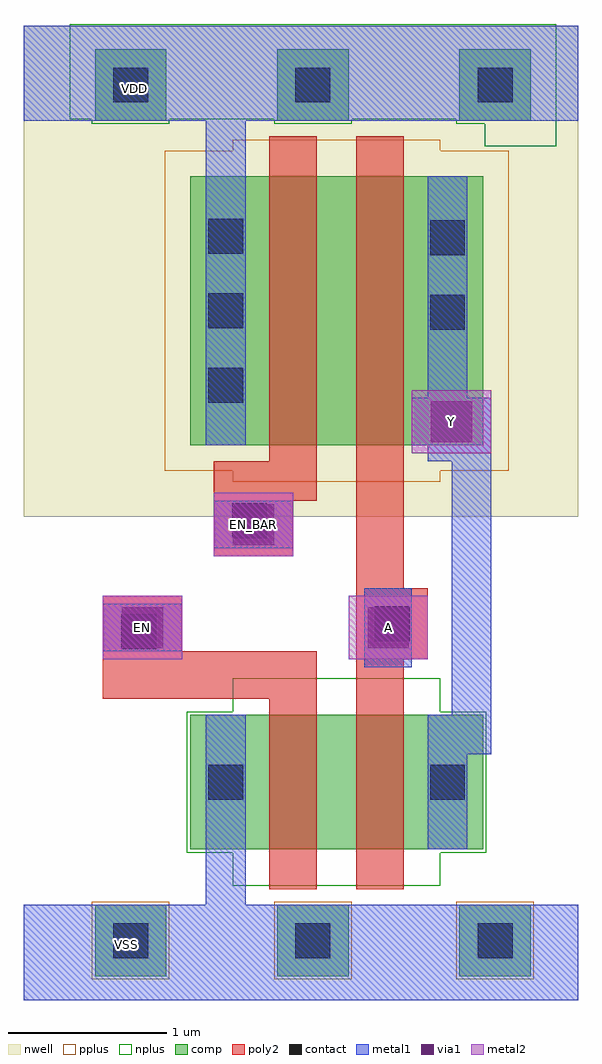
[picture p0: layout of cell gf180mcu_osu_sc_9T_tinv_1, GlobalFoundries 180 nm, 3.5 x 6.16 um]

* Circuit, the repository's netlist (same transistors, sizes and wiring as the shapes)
* Copyright 2022 Google LLC
*
* Licensed under the Apache License, Version 2.0 (the "License");
* you may not use this file except in compliance with the License.
* You may obtain a copy of the License at
*
*      http://www.apache.org/licenses/LICENSE-2.0
*
* Unless required by applicable law or agreed to in writing, software
* distributed under the License is distributed on an "AS IS" BASIS,
* WITHOUT WARRANTIES OR CONDITIONS OF ANY KIND, either express or implied.
* See the License for the specific language governing permissions and
* limitations under the License.

.option scale=0.05u

.subckt gf180mcu_osu_sc_9T_tinv_1 A Y EN EN_BAR
X0 a_37_19 EN VSS VSS nmos_3p3 w=17 l=6
X1 a_37_70 EN_BAR VDD VDD pmos_3p3 w=34 l=6
X2 Y A a_37_19 VSS nmos_3p3 w=17 l=6
X3 Y A a_37_70 VDD pmos_3p3 w=34 l=6
.ends

** hspice subcircuit dictionary

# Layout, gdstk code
import gdstk
lib = gdstk.Library(unit=1e-6, precision=1e-09)
def R(c, l, rs):  # rectangles x0, y0, x1, y1
    for r in rs: c.add(gdstk.rectangle(r[:2], r[2:], *l))
def A(c, l, x, y, w, h, nx, ny, dx, dy):  # array of equal rectangles
    R(c, l, [(x+i*dx, y+j*dy, x+i*dx+w, y+j*dy+h) for i in range(nx) for j in range(ny)])
nwell = (21, 0)
comp = (22, 0)
poly2 = (30, 0)
pplus = (31, 0)
nplus = (32, 0)
contact = (33, 0)
metal1 = (34, 0)
via1 = (35, 0)
metal2 = (36, 0)

gf180mcu_osu_sc_9t_tinv_ = lib.new_cell('gf180mcu_osu_sc_9T_tinv_1')
R(gf180mcu_osu_sc_9t_tinv_, nwell, [(0,3.05,3.5,6.15)])
A(gf180mcu_osu_sc_9t_tinv_, comp, 0.45, 0.15, 0.45, 0.45, 3, 2, 1.15, 5.4)
R(gf180mcu_osu_sc_9t_tinv_, comp, [(1.05,0.95,2.9,1.8), (1.05,3.5,2.9,5.2)])
R(gf180mcu_osu_sc_9t_tinv_, poly2, [(1.55,0.7,1.85,1.9), (2.1,0.7,2.4,2.15), (0.5,1.9,1.85,2.2), (2.1,2.15,2.55,2.6), (0.5,2.2,1,2.55), (2.1,2.6,2.4,5.45), (1.2,2.8,1.7,3.15), (1.2,3.15,1.85,3.4), (1.55,3.4,1.85,5.45)])
A(gf180mcu_osu_sc_9t_tinv_, pplus, 0.43, 0.13, 0.49, 0.49, 3, 1, 1.15, 0)
R(gf180mcu_osu_sc_9t_tinv_, pplus, [(1.32,3.27,2.63,3.34), (0.89,3.34,3.06,5.36), (1.32,5.36,2.63,5.43)])
R(gf180mcu_osu_sc_9t_tinv_, nplus, [(1.32,0.72,2.63,0.93), (1.03,0.93,2.92,1.82), (1.32,1.82,2.63,2.03), (2.91,5.39,3.36,5.53), (0.43,5.53,0.92,5.56), (1.58,5.53,2.07,5.56), (2.73,5.53,3.36,5.56), (0.29,5.56,3.36,6.16)])
A(gf180mcu_osu_sc_9t_tinv_, contact, 0.565, 0.265, 0.22, 0.22, 3, 2, 1.15, 5.4)
A(gf180mcu_osu_sc_9t_tinv_, contact, 1.165, 3.77, 0.22, 0.22, 1, 3, 0, 0.47)
R(gf180mcu_osu_sc_9t_tinv_, contact, [(1.165,1.265,1.385,1.485), (2.565,1.265,2.785,1.485), (0.615,2.215,0.835,2.435), (2.215,2.265,2.435,2.485), (1.315,2.915,1.535,3.135), (2.565,4.23,2.785,4.45), (2.565,4.7,2.785,4.92)])
R(gf180mcu_osu_sc_9t_tinv_, metal1, [(0,0,3.5,0.6), (1.15,0.6,1.4,1.8), (2.55,0.95,2.8,1.55), (2.55,1.55,2.95,1.8), (2.7,1.8,2.95,3.4), (2.15,2.1,2.45,2.6), (0.5,2.2,1,2.5), (1.2,2.85,1.7,3.15), (2.55,3.4,2.95,3.5), (1.15,3.5,1.4,5.55), (2.45,3.5,2.95,3.8), (2.55,3.8,2.8,5.2), (0,5.55,3.5,6.15)])
R(gf180mcu_osu_sc_9t_tinv_, via1, [(0.62,2.22,0.88,2.48), (2.17,2.22,2.43,2.48), (1.32,2.87,1.58,3.13), (2.57,3.52,2.83,3.78)])
R(gf180mcu_osu_sc_9t_tinv_, metal2, [(0.5,2.15,1,2.55), (2.05,2.15,2.55,2.55), (1.2,2.8,1.7,3.2), (2.45,3.45,2.95,3.85)])
gf180mcu_osu_sc_9t_tinv_.add(gdstk.Label('VDD', (0.7,5.75), layer=34, texttype=0))
gf180mcu_osu_sc_9t_tinv_.add(gdstk.Label('VSS', (0.65,0.35), layer=34, texttype=0))
gf180mcu_osu_sc_9t_tinv_.add(gdstk.Label('A', (2.3,2.35), layer=36, texttype=10))
gf180mcu_osu_sc_9t_tinv_.add(gdstk.Label('Y', (2.7,3.65), layer=36, texttype=10))
gf180mcu_osu_sc_9t_tinv_.add(gdstk.Label('EN', (0.75,2.35), layer=36, texttype=10))
gf180mcu_osu_sc_9t_tinv_.add(gdstk.Label('EN_BAR', (1.45,3), layer=36, texttype=10))

lib.write_gds('gf180mcu_osu_sc_9T_tinv_1.gds')
